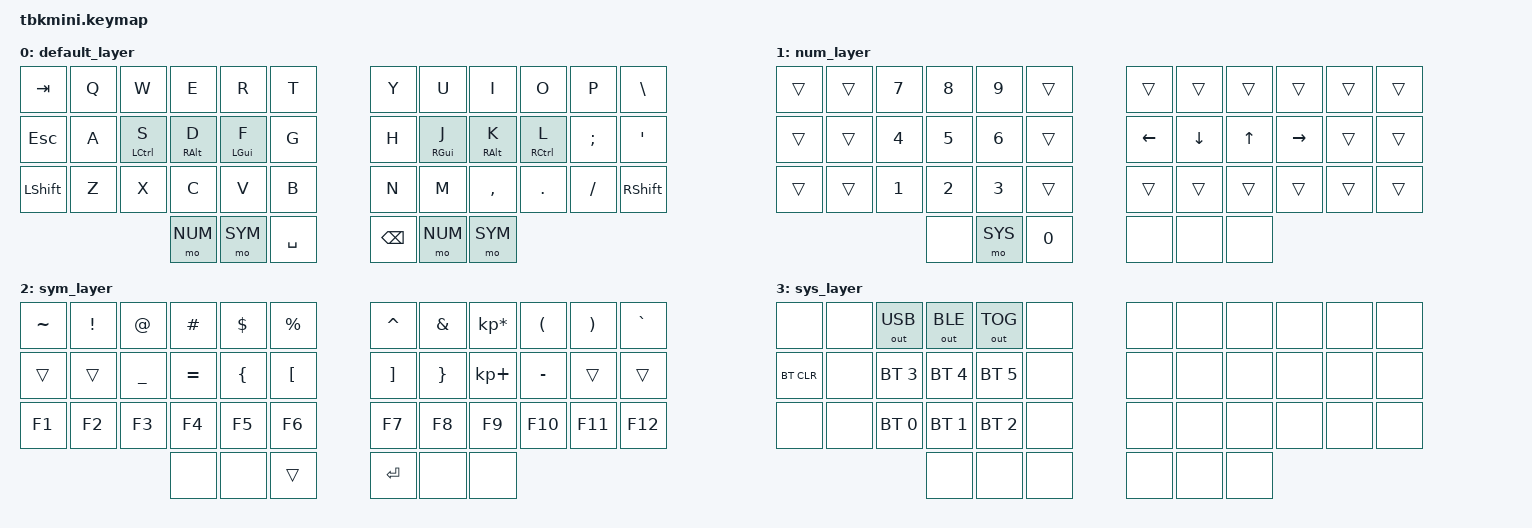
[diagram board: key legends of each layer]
#include <behaviors.dtsi>
#include <dt-bindings/zmk/keys.h>
#include <dt-bindings/zmk/bt.h>
#include <dt-bindings/zmk/ext_power.h>
#include <dt-bindings/zmk/outputs.h>

#define DEFAULT 0
#define NUM 1
#define SYM 2
#define SYS 3

&lt {
  tapping-term-ms = <300>;
  quick_tap_ms = <200>;
  flavor = "hold-preferred";
};

/ {
  chosen {
    zmk,matrix_transform = &default_transform;
  };

  behaviors {
    hm: homerow_mods {
      compatible = "zmk,behavior-hold-tap";
      label = "HOMEROW_MODS";
      #binding-cells = <2>;
      tapping-term-ms = <150>;
      quick_tap_ms = <150>;
      flavor = "tap-preferred";
      bindings = <&kp>, <&kp>;
    };
  };

  keymap {
        compatible = "zmk,keymap";

        default_layer {
            bindings = <
  &kp TAB       &kp Q   &kp W       &kp E       &kp R       &kp T                     &kp Y  &kp U        &kp I       &kp O       &kp P    &kp BSLH
  &kp ESC       &kp A   &hm LCTRL S &hm RALT D  &hm LGUI F  &kp G                     &kp H  &hm RGUI J   &hm RALT  K &hm RCTRL L &kp SEMI &kp SQT
  &kp LSHFT     &kp Z   &kp X       &kp C       &kp V       &kp B                     &kp N  &kp M        &kp COMMA   &kp DOT     &kp FSLH &kp RSHFT
                                            &mo NUM   &mo SYM  &kp SPACE          &kp BSPC &mo NUM  &mo SYM
             // 
	           // &lt MSE ESC  &lt NAV SPACE  &lt MED TAB                       &lt FUN RET  &lt NUM BSPC &lt SYM DEL
            >;
        };
        num_layer {
            bindings = <
	&trans  &trans  &kp N7     &kp N8      &kp N9      &trans                 &trans    &trans    &trans   &trans    &trans  &trans
	&trans  &trans  &kp N4     &kp N5      &kp N6      &trans                 &kp LEFT  &kp DOWN  &kp UP   &kp RIGHT &trans  &trans
	&trans  &trans  &kp N1     &kp N2      &kp N3      &trans                 &trans    &trans    &trans   &trans    &trans  &trans
	                                   &none       &mo SYS   &kp N0          &none &none &none
            >;
        };
        sym_layer {
            bindings = <
  &kp TILDE  &kp EXCL  &kp AT     &kp HASH  &kp DOLLAR   &kp PRCNT                    &kp CARET &kp AMPS  &kp KP_MULTIPLY &kp LPAR  &kp RPAR  &kp GRAVE  
  &trans     &trans    &kp UNDER  &kp EQUAL &kp LBRC     &kp LBKT                     &kp RBKT  &kp RBRC  &kp KP_PLUS     &kp MINUS &trans    &trans
	&kp F1     &kp F2    &kp F3     &kp F4    &kp F5       &kp F6                       &kp F7    &kp F8    &kp F9          &kp F10   &kp F11   &kp F12
	                                   &none       &none   &trans                       &kp RET   &none &none
            >;
        };
        sys_layer {
            bindings = <
  &none      &none   &out OUT_USB &out OUT_BLE &out OUT_TOG  &none                  &none     &none     &none    &none     &none   &none 
  &bt BT_CLR &none   &bt BT_SEL 3 &bt BT_SEL 4 &bt BT_SEL 5 &none                  &none     &none     &none    &none     &none   &none 
  &none      &none   &bt BT_SEL 0 &bt BT_SEL 1 &bt BT_SEL 2 &none                  &none     &none     &none    &none     &none   &none 
	                                   &none       &none   &none          &none &none &none
            >;
        };
    };
};
